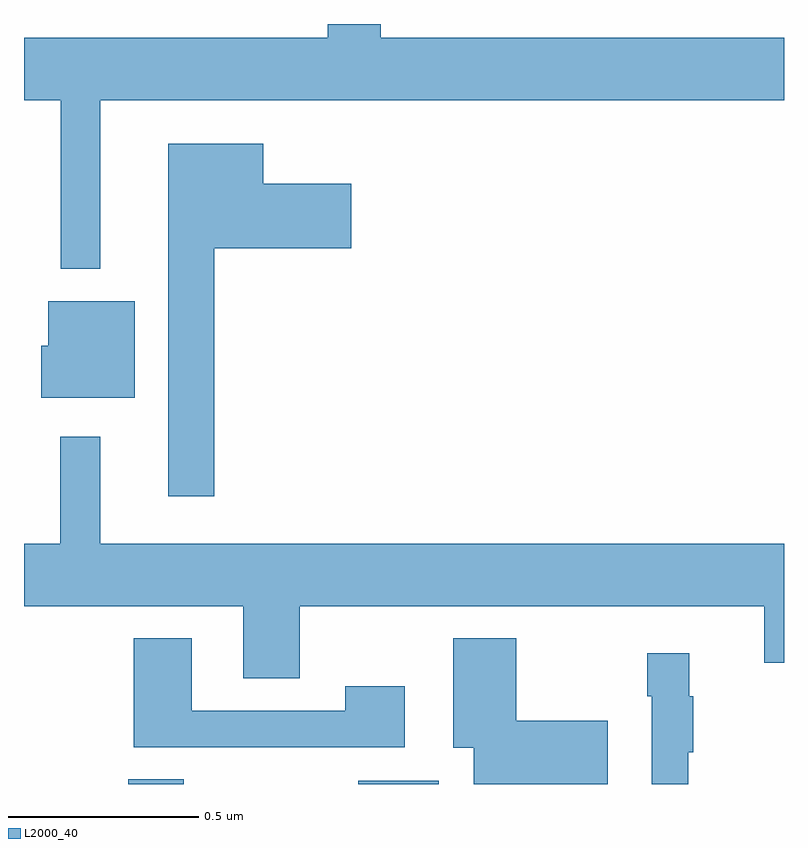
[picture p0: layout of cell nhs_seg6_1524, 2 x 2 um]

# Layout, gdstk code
import gdstk
lib = gdstk.Library(unit=1e-6, precision=1e-09)
def R(c, l, rs):  # rectangles x0, y0, x1, y1
    for r in rs: c.add(gdstk.rectangle(r[:2], r[2:], *l))
def P(c, l, *ps):  # polygons
    for p in ps: c.add(gdstk.Polygon(p, *l))
L2000_40 = (2000, 40)

nhs_seg6_1524 = lib.new_cell('nhs_seg6_1524')
R(nhs_seg6_1524, L2000_40, [(130.274,981.5,130.42,981.512), (130.88,981.5,131.092,981.508)])
P(nhs_seg6_1524, L2000_40, [(130.201,983.3),(132,983.3),(132,983.464),(130.939,983.464),(130.939,983.5),(130.799,983.5),(130.799,983.464),(130,983.464),(130,983.3),(130.097,983.3),(130.097,982.856),(130.201,982.856)],
  [(130.501,982.91),(130.861,982.91),(130.861,983.08),(130.63,983.08),(130.63,983.185),(130.379,983.185),(130.379,982.257),(130.501,982.257)],
  [(130.291,982.771),(130.064,982.771),(130.064,982.653),(130.046,982.653),(130.046,982.517),(130.291,982.517)],
  [(130.725,981.968),(131.948,981.968),(131.948,981.819),(132,981.819),(132,982.132),(130.201,982.132),(130.201,982.414),(130.095,982.414),(130.095,982.132),(130,982.132),(130,981.968),(130.577,981.968),(130.577,981.778),(130.725,981.778)],
  [(131.536,981.667),(131.296,981.667),(131.296,981.883),(131.129,981.883),(131.129,981.596),(131.183,981.596),(131.183,981.5),(131.536,981.5)],
  [(131.002,981.757),(130.846,981.757),(130.846,981.693),(130.441,981.693),(130.441,981.883),(130.289,981.883),(130.289,981.597),(131.002,981.597)],
  [(131.748,981.583),(131.761,981.583),(131.761,981.731),(131.75,981.731),(131.75,981.844),(131.64,981.844),(131.64,981.731),(131.652,981.731),(131.652,981.5),(131.748,981.5)])

lib.write_gds('nhs_seg6_1524.gds')
